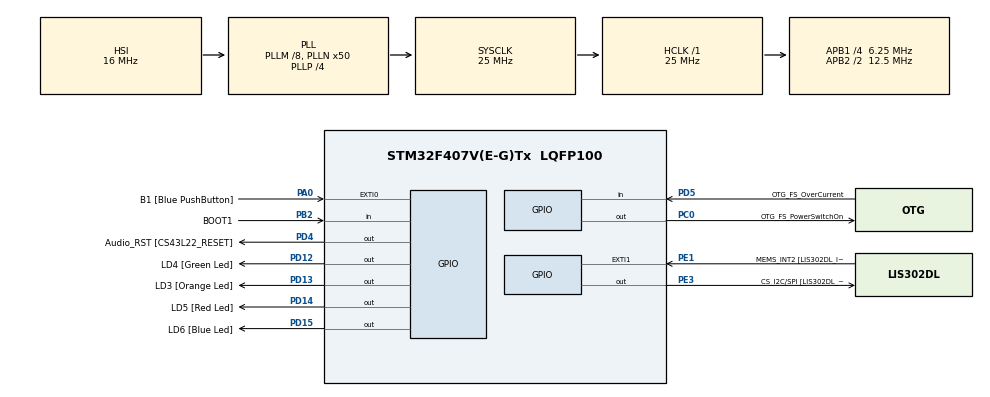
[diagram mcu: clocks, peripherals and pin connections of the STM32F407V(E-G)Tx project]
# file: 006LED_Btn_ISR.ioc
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Mcu.Family=STM32F4
Mcu.Name=STM32F407V(E-G)Tx
Mcu.Package=LQFP100
NVIC.EXTI0_IRQn=true\:6\:0\:true\:false\:true\:true\:true
NVIC.PriorityGroup=NVIC_PRIORITYGROUP_4
NVIC.TIM6_DAC_IRQn=true\:15\:0\:false\:false\:true\:false\:true
NVIC.TimeBase=TIM6_DAC_IRQn
NVIC.TimeBaseIP=TIM6
PA0-WKUP.GPIO_Label=B1 [Blue PushButton]
PA0-WKUP.GPIO_ModeDefaultEXTI=GPIO_MODE_IT_FALLING
PA0-WKUP.Signal=GPXTI0
PA10.GPIO_Label=OTG_FS_ID
PA10.GPIO_Mode=GPIO_MODE_AF_PP
PA10.GPIO_PuPd=GPIO_NOPULL
PA10.GPIO_Speed=GPIO_SPEED_FREQ_LOW
PA10.Signal=USB_OTG_FS_ID
PA11.GPIO_Label=OTG_FS_DM
PA11.GPIO_Mode=GPIO_MODE_AF_PP
PA11.GPIO_PuPd=GPIO_NOPULL
PA11.GPIO_Speed=GPIO_SPEED_FREQ_LOW
PA11.Signal=USB_OTG_FS_DM
PA12.GPIO_Label=OTG_FS_DP
PA12.GPIO_Mode=GPIO_MODE_AF_PP
PA12.GPIO_PuPd=GPIO_NOPULL
PA12.GPIO_Speed=GPIO_SPEED_FREQ_LOW
PA12.Signal=USB_OTG_FS_DP
PA13.GPIO_Label=SWDIO
PA13.Signal=SYS_JTMS-SWDIO
PA14.GPIO_Label=SWCLK
PA14.Signal=SYS_JTCK-SWCLK
PA4.GPIO_Label=I2S3_WS [CS43L22_LRCK]
PA4.GPIO_Mode=GPIO_MODE_AF_PP
PA4.GPIO_PuPd=GPIO_NOPULL
PA4.GPIO_Speed=GPIO_SPEED_FREQ_LOW
PA4.Signal=I2S3_WS
PA5.GPIO_Label=SPI1_SCK [LIS302DL_SCL/SPC]
PA5.GPIO_Mode=GPIO_MODE_AF_PP
PA5.GPIO_PuPd=GPIO_NOPULL
PA5.GPIO_Speed=GPIO_SPEED_FREQ_LOW
PA5.Signal=SPI1_SCK
PA6.GPIO_Label=SPI1_MISO [LIS302DL_SDO]
PA6.GPIO_Mode=GPIO_MODE_AF_PP
PA6.GPIO_PuPd=GPIO_NOPULL
PA6.GPIO_Speed=GPIO_SPEED_FREQ_LOW
PA6.Signal=SPI1_MISO
PA7.GPIO_Label=SPI1_MOSI [LIS302DL_SDA/SDI/SDO]
PA7.GPIO_Mode=GPIO_MODE_AF_PP
PA7.GPIO_PuPd=GPIO_NOPULL
PA7.GPIO_Speed=GPIO_SPEED_FREQ_LOW
PA7.Signal=SPI1_MOSI
PA9.GPIO_Label=VBUS_FS
PA9.GPIO_Mode=GPIO_MODE_INPUT
PA9.GPIO_PuPd=GPIO_NOPULL
PA9.Signal=USB_OTG_FS_VBUS
PB10.GPIO_Label=CLK_IN [MP45DT02_CLK]
PB10.GPIO_Mode=GPIO_MODE_AF_PP
PB10.GPIO_PuPd=GPIO_NOPULL
PB10.GPIO_Speed=GPIO_SPEED_FREQ_LOW
PB10.Signal=I2S2_CK
PB2.GPIO_Label=BOOT1
PB2.GPIO_Mode=GPIO_MODE_INPUT
PB2.GPIO_PuPd=GPIO_NOPULL
PB2.Signal=GPIO_Input
PB3.GPIO_Label=SWO
PB3.Signal=SYS_JTDO-SWO
PB6.GPIO_Label=Audio_SCL [CS43L22_SCL]
PB6.GPIO_Mode=GPIO_MODE_AF_OD
PB6.GPIO_PuPd=GPIO_NOPULL
PB6.GPIO_Speed=GPIO_SPEED_FREQ_LOW
PB6.Signal=I2C1_SCL
PB9.GPIO_Label=Audio_SDA [CS43L22_SDA]
PB9.GPIO_Mode=GPIO_MODE_AF_OD
PB9.GPIO_PuPd=GPIO_NOPULL
PB9.GPIO_Speed=GPIO_SPEED_FREQ_LOW
PB9.Signal=I2C1_SDA
PC0.GPIO_Label=OTG_FS_PowerSwitchOn
PC0.GPIO_PuPd=GPIO_NOPULL
PC0.GPIO_Speed=GPIO_SPEED_FREQ_LOW
PC0.PinState=GPIO_PIN_SET
PC0.Signal=GPIO_Output
PC10.GPIO_Label=I2S3_SCK [CS43L22_SCLK]
PC10.GPIO_Mode=GPIO_MODE_AF_PP
PC10.GPIO_PuPd=GPIO_NOPULL
PC10.GPIO_Speed=GPIO_SPEED_FREQ_LOW
PC10.Signal=I2S3_CK
PC12.GPIO_Label=I2S3_SD [CS43L22_SDIN]
PC12.GPIO_Mode=GPIO_MODE_AF_PP
PC12.GPIO_PuPd=GPIO_NOPULL
PC12.GPIO_Speed=GPIO_SPEED_FREQ_LOW
PC12.Signal=I2S3_SD
PC14-OSC32_IN.GPIO_Label=PC14-OSC32_IN
PC14-OSC32_IN.Signal=RCC_OSC32_IN
PC15-OSC32_OUT.GPIO_Label=PC15-OSC32_OUT
PC15-OSC32_OUT.Signal=RCC_OSC32_OUT
PC3.GPIO_Label=PDM_OUT [MP45DT02_DOUT]
PC3.GPIO_Mode=GPIO_MODE_AF_PP
PC3.GPIO_PuPd=GPIO_NOPULL
PC3.GPIO_Speed=GPIO_SPEED_FREQ_LOW
PC3.Signal=I2S2_SD
PC7.GPIO_Label=I2S3_MCK [CS43L22_MCLK]
PC7.GPIO_Mode=GPIO_MODE_AF_PP
PC7.GPIO_PuPd=GPIO_NOPULL
PC7.GPIO_Speed=GPIO_SPEED_FREQ_LOW
PC7.Signal=I2S3_MCK
PD12.GPIO_Label=LD4 [Green Led]
PD12.GPIO_PuPd=GPIO_NOPULL
PD12.GPIO_Speed=GPIO_SPEED_FREQ_LOW
PD12.Signal=GPIO_Output
PD13.GPIO_Label=LD3 [Orange Led]
PD13.GPIO_PuPd=GPIO_NOPULL
PD13.GPIO_Speed=GPIO_SPEED_FREQ_LOW
PD13.Signal=GPIO_Output
PD14.GPIO_Label=LD5 [Red Led]
PD14.GPIO_PuPd=GPIO_NOPULL
PD14.GPIO_Speed=GPIO_SPEED_FREQ_LOW
PD14.Signal=GPIO_Output
PD15.GPIO_Label=LD6 [Blue Led]
PD15.GPIO_PuPd=GPIO_NOPULL
PD15.GPIO_Speed=GPIO_SPEED_FREQ_LOW
PD15.Signal=GPIO_Output
PD4.GPIO_Label=Audio_RST [CS43L22_RESET]
PD4.GPIO_PuPd=GPIO_NOPULL
PD4.GPIO_Speed=GPIO_SPEED_FREQ_LOW
PD4.Signal=GPIO_Output
PD5.GPIO_Label=OTG_FS_OverCurrent
PD5.GPIO_Mode=GPIO_MODE_INPUT
PD5.GPIO_PuPd=GPIO_NOPULL
PD5.Signal=GPIO_Input
PE1.GPIO_Label=MEMS_INT2 [LIS302DL_INT2]
PE1.GPIO_ModeDefaultEXTI=GPIO_MODE_EVT_RISING
PE1.GPIO_PuPd=GPIO_NOPULL
PE1.Signal=GPXTI1
PE3.GPIO_Label=CS_I2C/SPI [LIS302DL_CS_I2C/SPI]
PE3.GPIO_PuPd=GPIO_NOPULL
PE3.GPIO_Speed=GPIO_SPEED_FREQ_LOW
PE3.Signal=GPIO_Output
PH0-OSC_IN.GPIO_Label=PH0-OSC_IN
PH0-OSC_IN.Signal=RCC_OSC_IN
PH1-OSC_OUT.GPIO_Label=PH1-OSC_OUT
PH1-OSC_OUT.Signal=RCC_OSC_OUT
ProjectManager.HeapSize=0x200
ProjectManager.StackSize=0x400
ProjectManager.TargetToolchain=STM32CubeIDE
RCC.48MHZClocksFreq_Value=14285714.285714285
RCC.AHBFreq_Value=25000000
RCC.APB1CLKDivider=RCC_HCLK_DIV4
RCC.APB1Freq_Value=6250000
RCC.APB1TimFreq_Value=12500000
RCC.APB2CLKDivider=RCC_HCLK_DIV2
RCC.APB2Freq_Value=12500000
RCC.APB2TimFreq_Value=25000000
RCC.CortexFreq_Value=25000000
RCC.HCLKFreq_Value=25000000
RCC.HSE_VALUE=8000000
RCC.HSI_VALUE=16000000
RCC.LSE_VALUE=32768
RCC.PLLM=8
RCC.PLLN=50
RCC.PLLP=RCC_PLLP_DIV4
RCC.PLLQ=7
RCC.SYSCLKFreq_VALUE=25000000
RCC.SYSCLKSource=RCC_SYSCLKSOURCE_PLLCLK
RCC.VCOOutputFreq_Value=100000000
VP_SYS_VS_tim6.Mode=TIM6
board=STM32F407G-DISC1

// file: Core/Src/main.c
/* USER CODE BEGIN Header */
/**
  ******************************************************************************
  * @file           : main.c
  * @brief          : Main program body
  ******************************************************************************
  * @attention
  *
  * <h2><center>&copy; Copyright (c) 2022 STMicroelectronics.
  * All rights reserved.</center></h2>
  *
  * This software component is licensed by ST under BSD 3-Clause license,
  * the "License"; You may not use this file except in compliance with the
  * License. You may obtain a copy of the License at:
  *                        opensource.org/licenses/BSD-3-Clause
  *
  ******************************************************************************
  */
/* USER CODE END Header */
#include "main.h"

/* USER CODE BEGIN Includes */
#include <stdio.h>
#include "FreeRTOS.h"
#include "task.h"
/* USER CODE END Includes */

/* USER CODE BEGIN PV */
#define DWT_CTRL	(*(volatile uint32_t*)0xE0001000)
/* USER CODE END PV */

void SystemClock_Config(void);
static void MX_GPIO_Init(void);
/* USER CODE BEGIN PFP */

static void led_green_handler(void *parameters);
static void led_orange_handler(void *parameters);
static void led_red_handler(void *parameters);
void button_interrupt_handler(void);

extern void SEGGER_UART_init(U32 baud);

TaskHandle_t ledg_task_handle;
TaskHandle_t ledo_task_handle;
TaskHandle_t ledr_task_handle;

TaskHandle_t volatile next_task_handle = NULL;

/* USER CODE END PFP */

int main(void)
{
  /* USER CODE BEGIN 1 */

	BaseType_t status;

  /* USER CODE END 1 */

  /* MCU Configuration--------------------------------------------------------*/

  /* Reset of all peripherals, Initializes the Flash interface and the Systick. */
  HAL_Init();

  /* Configure the system clock */
  SystemClock_Config();

  /* Initialize all configured peripherals */
  MX_GPIO_Init();
  /* USER CODE BEGIN 2 */

  // Enable the CYCCNT counter
  DWT_CTRL |= (1 << 0);

  SEGGER_UART_init(500000);

  SEGGER_SYSVIEW_Conf();

  status = xTaskCreate(led_green_handler, "led_green_task", 200, NULL, 3, &ledg_task_handle);

  configASSERT(status == pdPASS);

  next_task_handle = ledg_task_handle;

  status = xTaskCreate(led_orange_handler, "led_orange_task", 200, NULL, 2, &ledo_task_handle);

  configASSERT(status == pdPASS);

  status = xTaskCreate(led_red_handler, "led_red_task", 200, NULL, 1, &ledr_task_handle);

  configASSERT(status == pdPASS);

  // start the freeRTOS schedular
  vTaskStartScheduler();

  // if the control comes here then the launch of the schedular has failed due to insufficient memory in heap

  /* USER CODE END 2 */

  /* Infinite loop */
  while (1)
  {

  }
}

void SystemClock_Config(void)
{
  RCC_OscInitTypeDef RCC_OscInitStruct = {0};
  RCC_ClkInitTypeDef RCC_ClkInitStruct = {0};

  /** Configure the main internal regulator output voltage
  */
  __HAL_RCC_PWR_CLK_ENABLE();
  __HAL_PWR_VOLTAGESCALING_CONFIG(PWR_REGULATOR_VOLTAGE_SCALE1);
  /** Initializes the RCC Oscillators according to the specified parameters
  * in the RCC_OscInitTypeDef structure.
  */
  RCC_OscInitStruct.OscillatorType = RCC_OSCILLATORTYPE_HSI;
  RCC_OscInitStruct.HSIState = RCC_HSI_ON;
  RCC_OscInitStruct.HSICalibrationValue = RCC_HSICALIBRATION_DEFAULT;
  RCC_OscInitStruct.PLL.PLLState = RCC_PLL_ON;
  RCC_OscInitStruct.PLL.PLLSource = RCC_PLLSOURCE_HSI;
  RCC_OscInitStruct.PLL.PLLM = 8;
  RCC_OscInitStruct.PLL.PLLN = 50;
  RCC_OscInitStruct.PLL.PLLP = RCC_PLLP_DIV4;
  RCC_OscInitStruct.PLL.PLLQ = 7;
  if (HAL_RCC_OscConfig(&RCC_OscInitStruct) != HAL_OK)
  {
    Error_Handler();
  }
  /** Initializes the CPU, AHB and APB buses clocks
  */
  RCC_ClkInitStruct.ClockType = RCC_CLOCKTYPE_HCLK|RCC_CLOCKTYPE_SYSCLK
                              |RCC_CLOCKTYPE_PCLK1|RCC_CLOCKTYPE_PCLK2;
  RCC_ClkInitStruct.SYSCLKSource = RCC_SYSCLKSOURCE_PLLCLK;
  RCC_ClkInitStruct.AHBCLKDivider = RCC_SYSCLK_DIV1;
  RCC_ClkInitStruct.APB1CLKDivider = RCC_HCLK_DIV4;
  RCC_ClkInitStruct.APB2CLKDivider = RCC_HCLK_DIV2;

  if (HAL_RCC_ClockConfig(&RCC_ClkInitStruct, FLASH_LATENCY_0) != HAL_OK)
  {
    Error_Handler();
  }
}

static void MX_GPIO_Init(void)
{
  GPIO_InitTypeDef GPIO_InitStruct = {0};

  /* GPIO Ports Clock Enable */
  __HAL_RCC_GPIOE_CLK_ENABLE();
  __HAL_RCC_GPIOC_CLK_ENABLE();
  __HAL_RCC_GPIOH_CLK_ENABLE();
  __HAL_RCC_GPIOA_CLK_ENABLE();
  __HAL_RCC_GPIOB_CLK_ENABLE();
  __HAL_RCC_GPIOD_CLK_ENABLE();

  /*Configure GPIO pin Output Level */
  HAL_GPIO_WritePin(CS_I2C_SPI_GPIO_Port, CS_I2C_SPI_Pin, GPIO_PIN_RESET);

  /*Configure GPIO pin Output Level */
  HAL_GPIO_WritePin(OTG_FS_PowerSwitchOn_GPIO_Port, OTG_FS_PowerSwitchOn_Pin, GPIO_PIN_SET);

  /*Configure GPIO pin Output Level */
  HAL_GPIO_WritePin(GPIOD, LD4_Pin|LD3_Pin|LD5_Pin|LD6_Pin
                          |Audio_RST_Pin, GPIO_PIN_RESET);

  /*Configure GPIO pin : CS_I2C_SPI_Pin */
  GPIO_InitStruct.Pin = CS_I2C_SPI_Pin;
  GPIO_InitStruct.Mode = GPIO_MODE_OUTPUT_PP;
  GPIO_InitStruct.Pull = GPIO_NOPULL;
  GPIO_InitStruct.Speed = GPIO_SPEED_FREQ_LOW;
  HAL_GPIO_Init(CS_I2C_SPI_GPIO_Port, &GPIO_InitStruct);

  /*Configure GPIO pin : OTG_FS_PowerSwitchOn_Pin */
  GPIO_InitStruct.Pin = OTG_FS_PowerSwitchOn_Pin;
  GPIO_InitStruct.Mode = GPIO_MODE_OUTPUT_PP;
  GPIO_InitStruct.Pull = GPIO_NOPULL;
  GPIO_InitStruct.Speed = GPIO_SPEED_FREQ_LOW;
  HAL_GPIO_Init(OTG_FS_PowerSwitchOn_GPIO_Port, &GPIO_InitStruct);

  /*Configure GPIO pin : PDM_OUT_Pin */
  GPIO_InitStruct.Pin = PDM_OUT_Pin;
  GPIO_InitStruct.Mode = GPIO_MODE_AF_PP;
  GPIO_InitStruct.Pull = GPIO_NOPULL;
  GPIO_InitStruct.Speed = GPIO_SPEED_FREQ_LOW;
  GPIO_InitStruct.Alternate = GPIO_AF5_SPI2;
  HAL_GPIO_Init(PDM_OUT_GPIO_Port, &GPIO_InitStruct);

  /*Configure GPIO pin : B1_Pin */
  GPIO_InitStruct.Pin = B1_Pin;
  GPIO_InitStruct.Mode = GPIO_MODE_IT_FALLING;
  GPIO_InitStruct.Pull = GPIO_NOPULL;
  HAL_GPIO_Init(B1_GPIO_Port, &GPIO_InitStruct);

  /*Configure GPIO pin : I2S3_WS_Pin */
  GPIO_InitStruct.Pin = I2S3_WS_Pin;
  GPIO_InitStruct.Mode = GPIO_MODE_AF_PP;
  GPIO_InitStruct.Pull = GPIO_NOPULL;
  GPIO_InitStruct.Speed = GPIO_SPEED_FREQ_LOW;
  GPIO_InitStruct.Alternate = GPIO_AF6_SPI3;
  HAL_GPIO_Init(I2S3_WS_GPIO_Port, &GPIO_InitStruct);

  /*Configure GPIO pins : SPI1_SCK_Pin SPI1_MISO_Pin SPI1_MOSI_Pin */
  GPIO_InitStruct.Pin = SPI1_SCK_Pin|SPI1_MISO_Pin|SPI1_MOSI_Pin;
  GPIO_InitStruct.Mode = GPIO_MODE_AF_PP;
  GPIO_InitStruct.Pull = GPIO_NOPULL;
  GPIO_InitStruct.Speed = GPIO_SPEED_FREQ_LOW;
  GPIO_InitStruct.Alternate = GPIO_AF5_SPI1;
  HAL_GPIO_Init(GPIOA, &GPIO_InitStruct);

  /*Configure GPIO pin : BOOT1_Pin */
  GPIO_InitStruct.Pin = BOOT1_Pin;
  GPIO_InitStruct.Mode = GPIO_MODE_INPUT;
  GPIO_InitStruct.Pull = GPIO_NOPULL;
  HAL_GPIO_Init(BOOT1_GPIO_Port, &GPIO_InitStruct);

  /*Configure GPIO pin : CLK_IN_Pin */
  GPIO_InitStruct.Pin = CLK_IN_Pin;
  GPIO_InitStruct.Mode = GPIO_MODE_AF_PP;
  GPIO_InitStruct.Pull = GPIO_NOPULL;
  GPIO_InitStruct.Speed = GPIO_SPEED_FREQ_LOW;
  GPIO_InitStruct.Alternate = GPIO_AF5_SPI2;
  HAL_GPIO_Init(CLK_IN_GPIO_Port, &GPIO_InitStruct);

  /*Configure GPIO pins : LD4_Pin LD3_Pin LD5_Pin LD6_Pin
                           Audio_RST_Pin */
  GPIO_InitStruct.Pin = LD4_Pin|LD3_Pin|LD5_Pin|LD6_Pin
                          |Audio_RST_Pin;
  GPIO_InitStruct.Mode = GPIO_MODE_OUTPUT_PP;
  GPIO_InitStruct.Pull = GPIO_NOPULL;
  GPIO_InitStruct.Speed = GPIO_SPEED_FREQ_LOW;
  HAL_GPIO_Init(GPIOD, &GPIO_InitStruct);

  /*Configure GPIO pins : I2S3_MCK_Pin I2S3_SCK_Pin I2S3_SD_Pin */
  GPIO_InitStruct.Pin = I2S3_MCK_Pin|I2S3_SCK_Pin|I2S3_SD_Pin;
  GPIO_InitStruct.Mode = GPIO_MODE_AF_PP;
  GPIO_InitStruct.Pull = GPIO_NOPULL;
  GPIO_InitStruct.Speed = GPIO_SPEED_FREQ_LOW;
  GPIO_InitStruct.Alternate = GPIO_AF6_SPI3;
  HAL_GPIO_Init(GPIOC, &GPIO_InitStruct);

  /*Configure GPIO pin : VBUS_FS_Pin */
  GPIO_InitStruct.Pin = VBUS_FS_Pin;
  GPIO_InitStruct.Mode = GPIO_MODE_INPUT;
  GPIO_InitStruct.Pull = GPIO_NOPULL;
  HAL_GPIO_Init(VBUS_FS_GPIO_Port, &GPIO_InitStruct);

  /*Configure GPIO pins : OTG_FS_ID_Pin OTG_FS_DM_Pin OTG_FS_DP_Pin */
  GPIO_InitStruct.Pin = OTG_FS_ID_Pin|OTG_FS_DM_Pin|OTG_FS_DP_Pin;
  GPIO_InitStruct.Mode = GPIO_MODE_AF_PP;
  GPIO_InitStruct.Pull = GPIO_NOPULL;
  GPIO_InitStruct.Speed = GPIO_SPEED_FREQ_LOW;
  GPIO_InitStruct.Alternate = GPIO_AF10_OTG_FS;
  HAL_GPIO_Init(GPIOA, &GPIO_InitStruct);

  /*Configure GPIO pin : OTG_FS_OverCurrent_Pin */
  GPIO_InitStruct.Pin = OTG_FS_OverCurrent_Pin;
  GPIO_InitStruct.Mode = GPIO_MODE_INPUT;
  GPIO_InitStruct.Pull = GPIO_NOPULL;
  HAL_GPIO_Init(OTG_FS_OverCurrent_GPIO_Port, &GPIO_InitStruct);

  /*Configure GPIO pins : Audio_SCL_Pin Audio_SDA_Pin */
  GPIO_InitStruct.Pin = Audio_SCL_Pin|Audio_SDA_Pin;
  GPIO_InitStruct.Mode = GPIO_MODE_AF_OD;
  GPIO_InitStruct.Pull = GPIO_NOPULL;
  GPIO_InitStruct.Speed = GPIO_SPEED_FREQ_LOW;
  GPIO_InitStruct.Alternate = GPIO_AF4_I2C1;
  HAL_GPIO_Init(GPIOB, &GPIO_InitStruct);

  /*Configure GPIO pin : MEMS_INT2_Pin */
  GPIO_InitStruct.Pin = MEMS_INT2_Pin;
  GPIO_InitStruct.Mode = GPIO_MODE_EVT_RISING;
  GPIO_InitStruct.Pull = GPIO_NOPULL;
  HAL_GPIO_Init(MEMS_INT2_GPIO_Port, &GPIO_InitStruct);

  /* EXTI interrupt init*/
  HAL_NVIC_SetPriority(EXTI0_IRQn, 6, 0);
  HAL_NVIC_EnableIRQ(EXTI0_IRQn);

}

/* USER CODE BEGIN 4 */
static void led_green_handler(void *parameters)
{
	BaseType_t status;
	while(1)
	{
		SEGGER_SYSVIEW_PrintfTarget("Toggling green LED");
		HAL_GPIO_TogglePin(GPIOD, LED_GREEN_PIN);
		status = xTaskNotifyWait(0, 0, NULL, pdMS_TO_TICKS(1000));
		if(status == pdTRUE){
			portENTER_CRITICAL();
			next_task_handle = ledo_task_handle;
			portEXIT_CRITICAL();
			HAL_GPIO_WritePin(GPIOD, LED_GREEN_PIN, GPIO_PIN_SET);
			vTaskDelete(NULL);
		}else{

		}
	}
}

static void led_orange_handler(void *parameters)
{
	BaseType_t status;
	while(1)
	{
		SEGGER_SYSVIEW_PrintfTarget("Toggling orange LED");
		HAL_GPIO_TogglePin(GPIOD, LED_ORANGE_PIN);
		status = xTaskNotifyWait(0, 0, NULL, pdMS_TO_TICKS(800));
		if(status == pdTRUE){
			portENTER_CRITICAL();
			next_task_handle = ledr_task_handle;
			portEXIT_CRITICAL();
			HAL_GPIO_WritePin(GPIOD, LED_ORANGE_PIN, GPIO_PIN_SET);
			vTaskDelete(NULL);
		}else{

		}
	}
}

static void led_red_handler(void *parameters)
{
	BaseType_t status;
	while(1)
	{
		SEGGER_SYSVIEW_PrintfTarget("Toggling red LED");
		HAL_GPIO_TogglePin(GPIOD, LED_RED_PIN);
		status = xTaskNotifyWait(0, 0, NULL, pdMS_TO_TICKS(400));
		if(status == pdTRUE){
			portENTER_CRITICAL();
			next_task_handle = NULL;
			portEXIT_CRITICAL();
			HAL_GPIO_WritePin(GPIOD, LED_RED_PIN, GPIO_PIN_SET);
			vTaskDelete(NULL);
		}else{

		}
	}
}

void button_interrupt_handler(void)
{
	traceISR_ENTER();
	xTaskNotifyFromISR(next_task_handle, 0, eNoAction, NULL);
	traceISR_EXIT();
}

/* USER CODE END 4 */

void HAL_TIM_PeriodElapsedCallback(TIM_HandleTypeDef *htim)
{
  if (htim->Instance == TIM6) {
    HAL_IncTick();
  }
}

void Error_Handler(void)
{
  __disable_irq();
  while (1)
  {
  }
}

/************************ (C) COPYRIGHT STMicroelectronics *****END OF FILE****/
